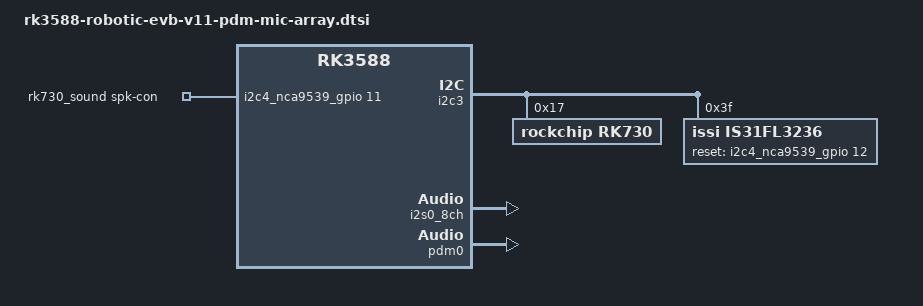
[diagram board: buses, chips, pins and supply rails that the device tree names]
// SPDX-License-Identifier: (GPL-2.0+ OR MIT)
/*
 * Copyright (c) 2025 Rockchip Electronics Co., Ltd.
 *
 */

/ {

	multi_dais: multi-dais {
		status = "okay";
		compatible = "rockchip,multi-dais";
		dais = <&pdm0>, <&i2s0_8ch>;
		capture,channel-mapping = <8 2>;
		playback,channel-mapping = <0 2>;
	};

	pdm_codec: dummy-codec {
		status = "okay";
		compatible = "rockchip,dummy-codec";
		#sound-dai-cells = <0>;
	};

	rk730_sound: rk730-sound {
		status = "okay";
		compatible = "rockchip,multicodecs-card";
		rockchip,card-name = "rockchip-rk730";
		spk-con-gpio = <&i2c4_nca9539_gpio 11 GPIO_ACTIVE_HIGH>;
		rockchip,bitclock-inversion;
		rockchip,pre-power-on-delay-ms = <30>;
		rockchip,post-power-down-delay-ms = <40>;
		rockchip,format = "i2s";
		rockchip,mclk-fs = <256>;
		rockchip,cpu = <&multi_dais>;
		rockchip,codec = <&pdm_codec>, <&rk730>;
		rockchip,audio-routing =
			"Headphone", "LOUT1",
			"Headphone", "ROUT1",
			"Speaker", "LOUT2",
			"Speaker", "ROUT2",
			"Headphone", "Headphone Power",
			"Headphone", "Headphone Power",
			"Speaker", "Speaker Power",
			"Speaker", "Speaker Power",
			"MIC2", "Main Mic",
			"MIC1", "Headset Mic";
	};

};

&i2c3 {
	status = "okay";

	rk730: rk730@17 {
		status = "okay";
		#sound-dai-cells = <0>;
		compatible = "rockchip,rk730";
		reg = <0x17>;
		clocks = <&mclkout_i2s0>;
		clock-names = "mclk";
		assigned-clocks = <&mclkout_i2s0>;
		assigned-clock-rates = <12288000>;
		pinctrl-names = "default";
		pinctrl-0 = <&i2s0_mclk>;
	};

	is31fl3236: led-controller@3f {
		compatible = "issi,is31fl3236";
		reg = <0x3f>;
		#address-cells = <1>;
		#size-cells = <0>;
		reset-gpios = <&i2c4_nca9539_gpio 12 GPIO_ACTIVE_HIGH>;
		status = "okay";

		led1: led@1 {
			label = "led1";
			reg = <1>;
			led-max-microamp = <10000>;
			linux,default-trigger = "timer";
			linux,default-trigger-delay-ms = <0>;
			linux,blink-delay-on-ms = <100>;
			linux,blink-delay-off-ms = <1200>;
		};

		led2: led@2 {
			label = "led2";
			reg = <2>;
			led-max-microamp = <10000>;
			linux,default-trigger = "timer";
			linux,default-trigger-delay-ms = <0>;
			linux,blink-delay-on-ms = <100>;
			linux,blink-delay-off-ms = <1200>;
		};

		led3: led@3 {
			label = "led3";
			reg = <3>;
			led-max-microamp = <10000>;
			linux,default-trigger = "default-on";
		};

		led4: led@4 {
			label = "led4";
			reg = <4>;
			led-max-microamp = <10000>;
			linux,default-trigger = "timer";
			linux,default-trigger-delay-ms = <100>;
			linux,blink-delay-on-ms = <100>;
			linux,blink-delay-off-ms = <1200>;
		};

		led5: led@5 {
			label = "led5";
			reg = <5>;
			led-max-microamp = <10000>;
			linux,default-trigger = "timer";
			linux,default-trigger-delay-ms = <100>;
			linux,blink-delay-on-ms = <100>;
			linux,blink-delay-off-ms = <1200>;
		};

		led6: led@6 {
			label = "led6";
			reg = <6>;
			led-max-microamp = <10000>;
			linux,default-trigger = "default-on";
		};

		led7: led@7 {
			label = "led7";
			reg = <7>;
			led-max-microamp = <10000>;
			linux,default-trigger = "timer";
			linux,default-trigger-delay-ms = <200>;
			linux,blink-delay-on-ms = <100>;
			linux,blink-delay-off-ms = <1200>;
		};

		led8: led@8 {
			label = "led8";
			reg = <8>;
			led-max-microamp = <10000>;
			linux,default-trigger = "timer";
			linux,default-trigger-delay-ms = <200>;
			linux,blink-delay-on-ms = <100>;
			linux,blink-delay-off-ms = <1200>;
		};

		led9: led@9 {
			label = "led9";
			reg = <9>;
			led-max-microamp = <10000>;
			linux,default-trigger = "default-on";
		};

		led10: led@10 {
			label = "led10";
			reg = <10>;
			led-max-microamp = <10000>;
			linux,default-trigger = "timer";
			linux,default-trigger-delay-ms = <300>;
			linux,blink-delay-on-ms = <100>;
			linux,blink-delay-off-ms = <1200>;
		};

		led11: led@11 {
			label = "led11";
			reg = <11>;
			led-max-microamp = <10000>;
			linux,default-trigger = "timer";
			linux,default-trigger-delay-ms = <300>;
			linux,blink-delay-on-ms = <100>;
			linux,blink-delay-off-ms = <1200>;
		};

		led12: led@12 {
			label = "led12";
			reg = <12>;
			led-max-microamp = <10000>;
			linux,default-trigger = "default-on";
		};

		led13: led@13 {
			label = "led13";
			reg = <13>;
			led-max-microamp = <10000>;
			linux,default-trigger = "timer";
			linux,default-trigger-delay-ms = <400>;
			linux,blink-delay-on-ms = <100>;
			linux,blink-delay-off-ms = <1200>;
		};

		led14: led@14 {
			label = "led14";
			reg = <14>;
			led-max-microamp = <10000>;
			linux,default-trigger = "timer";
			linux,default-trigger-delay-ms = <400>;
			linux,blink-delay-on-ms = <100>;
			linux,blink-delay-off-ms = <1200>;
		};

		led15: led@15 {
			label = "led15";
			reg = <15>;
			led-max-microamp = <10000>;
			linux,default-trigger = "default-on";
		};

		led16: led@16 {
			label = "led16";
			reg = <16>;
			led-max-microamp = <10000>;
			linux,default-trigger = "timer";
			linux,default-trigger-delay-ms = <500>;
			linux,blink-delay-on-ms = <100>;
			linux,blink-delay-off-ms = <1200>;
		};

		led17: led@17 {
			label = "led17";
			reg = <17>;
			led-max-microamp = <10000>;
			linux,default-trigger = "timer";
			linux,default-trigger-delay-ms = <500>;
			linux,blink-delay-on-ms = <100>;
			linux,blink-delay-off-ms = <1200>;
		};

		led18: led@18 {
			label = "led18";
			reg = <18>;
			led-max-microamp = <10000>;
			linux,default-trigger = "default-on";
		};

		led19: led@19 {
			label = "led19";
			reg = <19>;
			led-max-microamp = <10000>;
			linux,default-trigger = "timer";
			linux,default-trigger-delay-ms = <600>;
			linux,blink-delay-on-ms = <100>;
			linux,blink-delay-off-ms = <1200>;
		};

		led20: led@20 {
			label = "led20";
			reg = <20>;
			led-max-microamp = <10000>;
			linux,default-trigger = "timer";
			linux,default-trigger-delay-ms = <600>;
			linux,blink-delay-on-ms = <100>;
			linux,blink-delay-off-ms = <1200>;
		};

		led21: led@21 {
			label = "led21";
			reg = <21>;
			led-max-microamp = <10000>;
			linux,default-trigger = "default-on";
		};

		led22: led@22 {
			label = "led22";
			reg = <22>;
			led-max-microamp = <10000>;
			linux,default-trigger = "timer";
			linux,default-trigger-delay-ms = <700>;
			linux,blink-delay-on-ms = <100>;
			linux,blink-delay-off-ms = <1200>;
		};

		led23: led@23 {
			label = "led23";
			reg = <23>;
			led-max-microamp = <10000>;
			linux,default-trigger = "timer";
			linux,default-trigger-delay-ms = <700>;
			linux,blink-delay-on-ms = <100>;
			linux,blink-delay-off-ms = <1200>;
		};

		led124: led@24 {
			label = "led24";
			reg = <24>;
			led-max-microamp = <10000>;
			linux,default-trigger = "default-on";
		};

		led25: led@25 {
			label = "led25";
			reg = <25>;
			led-max-microamp = <10000>;
			linux,default-trigger = "timer";
			linux,default-trigger-delay-ms = <800>;
			linux,blink-delay-on-ms = <100>;
			linux,blink-delay-off-ms = <1200>;
		};

		led26: led@26 {
			label = "led26";
			reg = <26>;
			led-max-microamp = <10000>;
			linux,default-trigger = "timer";
			linux,default-trigger-delay-ms = <800>;
			linux,blink-delay-on-ms = <100>;
			linux,blink-delay-off-ms = <1200>;
		};

		led27: led@27 {
			label = "led27";
			reg = <27>;
			led-max-microamp = <10000>;
			linux,default-trigger = "default-on";
		};

		led28: led@28 {
			label = "led28";
			reg = <28>;
			led-max-microamp = <10000>;
			linux,default-trigger = "timer";
			linux,default-trigger-delay-ms = <900>;
			linux,blink-delay-on-ms = <100>;
			linux,blink-delay-off-ms = <1200>;
		};

		led29: led@29 {
			label = "led29";
			reg = <29>;
			led-max-microamp = <10000>;
			linux,default-trigger = "timer";
			linux,default-trigger-delay-ms = <900>;
			linux,blink-delay-on-ms = <100>;
			linux,blink-delay-off-ms = <1200>;
		};

		led30: led@30 {
			label = "led30";
			reg = <30>;
			led-max-microamp = <10000>;
			linux,default-trigger = "default-on";
		};

		led31: led@31 {
			label = "led31";
			reg = <31>;
			led-max-microamp = <10000>;
			linux,default-trigger = "timer";
			linux,default-trigger-delay-ms = <1000>;
			linux,blink-delay-on-ms = <100>;
			linux,blink-delay-off-ms = <1200>;
		};

		led32: led@32 {
			label = "led32";
			reg = <32>;
			led-max-microamp = <10000>;
			linux,default-trigger = "timer";
			linux,default-trigger-delay-ms = <1000>;
			linux,blink-delay-on-ms = <100>;
			linux,blink-delay-off-ms = <1200>;
		};

		led33: led@33 {
			label = "led33";
			reg = <33>;
			led-max-microamp = <10000>;
			linux,default-trigger = "default-on";
		};

		led34: led@34 {
			label = "led34";
			reg = <34>;
			led-max-microamp = <10000>;
			linux,default-trigger = "timer";
			linux,default-trigger-delay-ms = <1100>;
			linux,blink-delay-on-ms = <100>;
			linux,blink-delay-off-ms = <1200>;
		};

		led35: led@35 {
			label = "led35";
			reg = <35>;
			led-max-microamp = <10000>;
			linux,default-trigger = "timer";
			linux,default-trigger-delay-ms = <1100>;
			linux,blink-delay-on-ms = <100>;
			linux,blink-delay-off-ms = <1200>;
		};

		led36: led@36 {
			label = "led36";
			reg = <36>;
			led-max-microamp = <10000>;
			linux,default-trigger = "default-on";
		};
	};
};

&i2s0_8ch {
	pinctrl-0 = <&i2s0_lrck
		     &i2s0_sclk
		     &i2s0_sdi0
		     &i2s0_sdo0>;
	rockchip,no-dmaengine;
	status = "okay";
};

&pdm0 {
	pinctrl-0 = <&pdm0m0_clk1
		     &pdm0m0_sdi0
		     &pdm0m0_sdi1
		     &pdm0m0_sdi2
		     &pdm0m0_sdi3>;
	pinctrl-1 = <&pdm0m0_idle>;
	pinctrl-2 = <&pdm0m0_clk1>;
	rockchip,path-map=<0 1 2 3>;
	rockchip,no-dmaengine;
	status = "okay";
};
